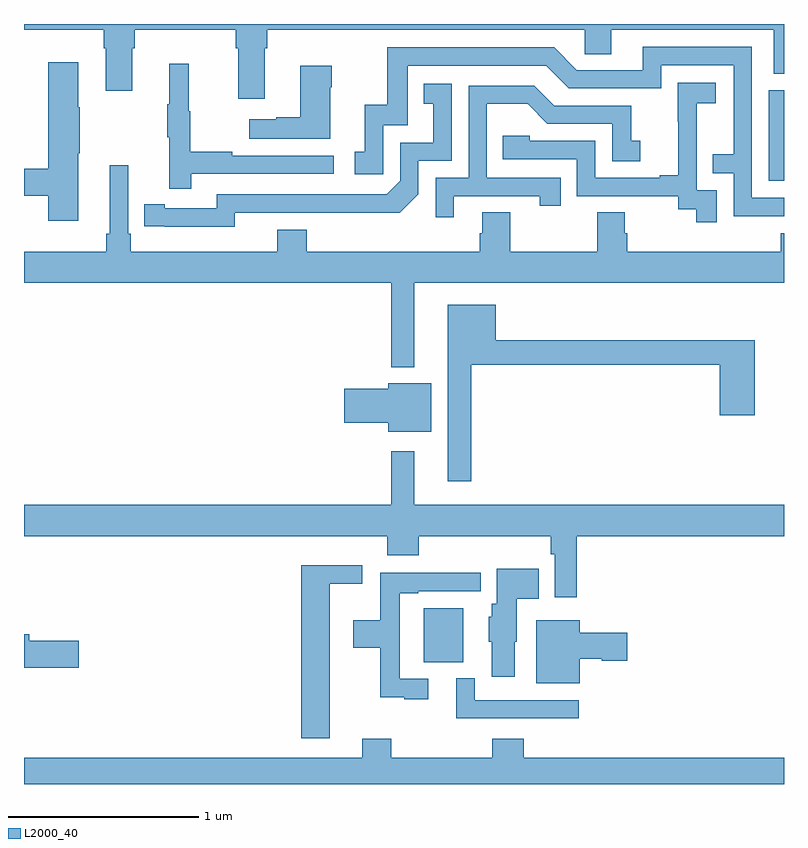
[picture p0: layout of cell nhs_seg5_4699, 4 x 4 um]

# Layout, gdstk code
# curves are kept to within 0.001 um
import gdstk
lib = gdstk.Library(unit=1e-6, precision=1e-09)
def R(c, l, rs):  # rectangles x0, y0, x1, y1
    for r in rs: c.add(gdstk.rectangle(r[:2], r[2:], *l))
def P(c, l, *ps):  # polygons
    for p in ps: c.add(gdstk.Polygon(p, *l))
L2000_40 = (2000, 40)

nhs_seg5_4699 = lib.new_cell('nhs_seg5_4699')
R(nhs_seg5_4699, L2000_40, [(389.105,845.441,389.311,845.725), (390.921,847.974,391,848.451)])
P(nhs_seg5_4699, L2000_40, [(388.267,848.672),(388.28,848.672),(388.28,848.768),(389.952,848.768),(389.952,848.641),(390.091,848.641),(390.091,848.768),(390.947,848.768),(390.947,848.536),(391,848.536),(391,848.799),(387,848.799),(387,848.768),(387.419,848.768),(387.419,848.672),(387.431,848.672),(387.431,848.448),(387.571,848.448),(387.571,848.672),(387.584,848.672),(387.584,848.768),(388.115,848.768),(388.115,848.672),(388.127,848.672),(388.127,848.406),(388.267,848.406)],
  [(391,847.884),(390.831,847.884),(390.831,848.679),(390.257,848.679),(390.257,848.556),(389.91,848.556),(389.79,848.676),(388.911,848.676),(388.911,848.374),(388.793,848.374),(388.793,848.127),(388.74,848.127),(388.74,848.007),(388.89,848.007),(388.89,848.265),(389.019,848.265),(389.019,848.58),(389.748,848.58),(389.868,848.46),(390.354,848.46),(390.354,848.583),(390.735,848.583),(390.735,848.114),(390.625,848.114),(390.625,848.013),(390.735,848.013),(390.735,847.788),(391,847.788)],
  [(387.286,848.119),(387.294,848.119),(387.294,848.36),(387.286,848.36),(387.286,848.599),(387.128,848.599),(387.128,848.036),(387,848.036),(387,847.894),(387.128,847.894),(387.128,847.764),(387.286,847.764)],
  [(387.881,848.01),(388.63,848.01),(388.63,848.106),(388.097,848.106),(388.097,848.126),(387.874,848.126),(387.874,848.34),(387.866,848.34),(387.866,848.59),(387.764,848.59),(387.764,848.377),(387.753,848.377),(387.753,848.203),(387.764,848.203),(387.764,847.932),(387.881,847.932)],
  [(388.612,848.465),(388.62,848.465),(388.62,848.578),(388.454,848.578),(388.454,848.309),(388.328,848.309),(388.328,848.299),(388.185,848.299),(388.185,848.195),(388.612,848.195)],
  [(390.645,847.923),(390.54,847.923),(390.54,848.153),(390.542,848.153),(390.542,848.381),(390.64,848.381),(390.64,848.491),(390.442,848.491),(390.442,848.285),(390.443,848.285),(390.443,848.002),(390.347,848.002),(390.347,847.989),(390.006,847.989),(390.006,848.184),(389.661,848.184),(389.661,848.211),(389.521,848.211),(389.521,848.088),(389.91,848.088),(389.91,847.893),(390.444,847.893),(390.444,847.825),(390.537,847.825),(390.537,847.755),(390.645,847.755)],
  [(388.11,847.806),(388.978,847.805),(389.076,847.902),(389.076,848.079),(389.25,848.079),(389.25,848.485),(389.104,848.485),(389.104,848.379),(389.153,848.379),(389.153,848.175),(388.98,848.175),(388.98,847.974),(388.908,847.902),(388.014,847.902),(388.014,847.83),(387.742,847.83),(387.742,847.85),(387.634,847.85),(387.634,847.734),(388.11,847.733)],
  [(389.263,847.893),(389.714,847.893),(389.714,847.842),(389.825,847.842),(389.825,847.989),(389.436,847.989),(389.436,848.378),(389.65,848.378),(389.754,848.274),(390.096,848.274),(390.096,848.076),(390.244,848.076),(390.244,848.185),(390.195,848.185),(390.195,848.37),(389.791,848.37),(389.686,848.475),(389.34,848.475),(389.34,847.989),(389.166,847.989),(389.166,847.782),(389.263,847.782)],
  [(389.053,847.436),(391,847.436),(391,847.699),(390.983,847.699),(390.983,847.6),(390.176,847.6),(390.176,847.698),(390.163,847.698),(390.163,847.808),(390.016,847.808),(390.016,847.6),(389.559,847.6),(389.559,847.808),(389.411,847.808),(389.411,847.698),(389.399,847.698),(389.399,847.6),(388.487,847.6),(388.487,847.717),(388.334,847.717),(388.334,847.6),(387.563,847.6),(387.563,847.696),(387.549,847.696),(387.549,848.056),(387.452,848.056),(387.452,847.696),(387.433,847.696),(387.433,847.6),(387,847.6),(387,847.436),(388.932,847.436),(388.932,846.992),(389.053,846.992)],
  [(389.353,847.006),(390.662,847.006),(390.662,846.741),(390.845,846.741),(390.845,847.135),(389.482,847.135),(389.482,847.321),(389.231,847.321),(389.231,846.393),(389.353,846.393)],
  [(389.143,846.907),(388.916,846.907),(388.916,846.878),(388.686,846.878),(388.686,846.7),(388.916,846.7),(388.916,846.653),(389.143,846.653)],
  [(389.909,846.104),(391,846.104),(391,846.268),(389.053,846.268),(389.053,846.55),(388.932,846.55),(388.932,846.268),(387,846.268),(387,846.104),(388.913,846.104),(388.913,846.002),(389.078,846.002),(389.078,846.104),(389.773,846.104),(389.773,846.008),(389.793,846.008),(389.793,845.781),(389.909,845.781)],
  [(388.609,845.852),(388.78,845.852),(388.78,845.95),(388.46,845.95),(388.46,845.04),(388.609,845.04)],
  [(389.584,845.547),(389.593,845.547),(389.593,845.774),(389.708,845.774),(389.708,845.932),(389.489,845.932),(389.489,845.748),(389.462,845.748),(389.462,845.679),(389.447,845.679),(389.447,845.547),(389.462,845.547),(389.462,845.364),(389.584,845.364)],
  [(389.128,845.352),(388.977,845.352),(388.977,845.802),(389.074,845.802),(389.074,845.814),(389.404,845.814),(389.404,845.912),(389.161,845.912),(389.161,845.91),(388.876,845.91),(388.876,845.662),(388.734,845.662),(388.734,845.515),(388.876,845.515),(388.876,845.255),(389,845.255),(389,845.244),(389.128,845.244)],
  [(389.926,845.459),(390.042,845.459),(390.042,845.447),(390.175,845.447),(390.175,845.594),(389.926,845.594),(389.926,845.662),(389.696,845.662),(389.696,845.33),(389.926,845.33)],
  [(387.289,845.552),(387.028,845.552),(387.028,845.588),(387,845.588),(387,845.41),(387.289,845.41)],
  [(389.92,845.241),(389.373,845.241),(389.373,845.356),(389.276,845.356),(389.276,845.145),(389.92,845.145)],
  [(391,844.936),(389.63,844.936),(389.63,845.038),(389.465,845.038),(389.465,844.936),(388.934,844.936),(388.934,845.038),(388.781,845.038),(388.781,844.936),(387,844.936),(387,844.799),(391,844.799)])

lib.write_gds('nhs_seg5_4699.gds')
